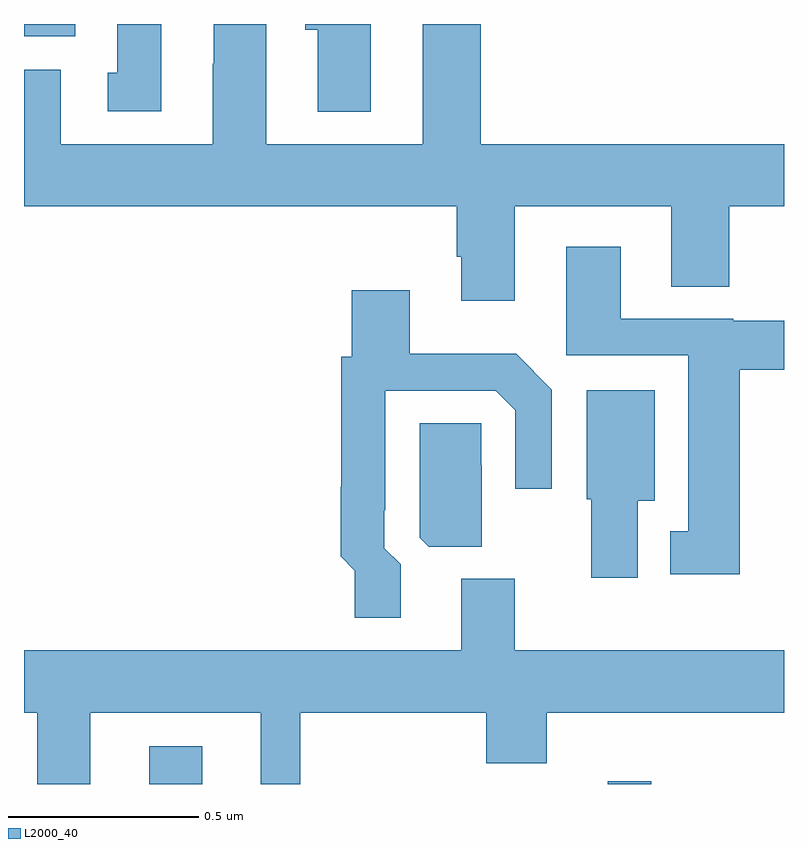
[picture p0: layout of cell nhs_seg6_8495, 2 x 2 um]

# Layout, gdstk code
import gdstk
lib = gdstk.Library(unit=1e-6, precision=1e-09)
def R(c, l, rs):  # rectangles x0, y0, x1, y1
    for r in rs: c.add(gdstk.rectangle(r[:2], r[2:], *l))
def P(c, l, *ps):  # polygons
    for p in ps: c.add(gdstk.Polygon(p, *l))
L2000_40 = (2000, 40)

nhs_seg6_8495 = lib.new_cell('nhs_seg6_8495')
R(nhs_seg6_8495, L2000_40, [(222.329,928.5,222.469,928.6), (223.536,928.5,223.651,928.507), (222,930.468,222.135,930.5)])
P(nhs_seg6_8495, L2000_40, [(223.291,930.02),(223.703,930.02),(223.703,929.809),(223.856,929.809),(223.856,930.02),(224,930.02),(224,930.184),(223.202,930.184),(223.202,930.5),(223.049,930.5),(223.049,930.184),(222.637,930.184),(222.637,930.5),(222.499,930.5),(222.499,930.395),(222.497,930.395),(222.497,930.184),(222.097,930.184),(222.097,930.379),(222,930.379),(222,930.02),(223.139,930.02),(223.139,929.887),(223.151,929.887),(223.151,929.772),(223.291,929.772)],
  [(222.361,930.5),(222.245,930.5),(222.245,930.372),(222.221,930.372),(222.221,930.27),(222.361,930.27)],
  [(222.913,930.5),(222.74,930.5),(222.74,930.485),(222.773,930.485),(222.773,930.269),(222.913,930.269)],
  [(223.883,929.59),(224,929.59),(224,929.719),(223.866,929.719),(223.866,929.724),(223.57,929.724),(223.57,929.914),(223.427,929.914),(223.427,929.628),(223.748,929.628),(223.748,929.165),(223.7,929.165),(223.7,929.052),(223.883,929.052)],
  [(222.991,929.078),(222.948,929.121),(222.948,929.221),(222.951,929.221),(222.951,929.535),(223.242,929.535),(223.293,929.484),(223.293,929.277),(223.389,929.277),(223.389,929.538),(223.295,929.632),(223.015,929.632),(223.015,929.8),(222.863,929.8),(222.863,929.625),(222.835,929.625),(222.835,929.282),(222.833,929.282),(222.833,929.1),(222.871,929.061),(222.871,928.938),(222.991,928.938)],
  [(223.615,929.246),(223.66,929.246),(223.66,929.536),(223.481,929.536),(223.481,929.25),(223.493,929.25),(223.493,929.043),(223.615,929.043)],
  [(223.204,929.339),(223.203,929.339),(223.203,929.45),(223.041,929.45),(223.041,929.148),(223.065,929.125),(223.204,929.125)],
  [(222.174,928.688),(222.623,928.688),(222.623,928.5),(222.727,928.5),(222.727,928.688),(223.216,928.688),(223.216,928.555),(223.376,928.555),(223.376,928.688),(224,928.688),(224,928.852),(223.291,928.852),(223.291,929.04),(223.151,929.04),(223.151,928.852),(222,928.852),(222,928.688),(222.035,928.688),(222.035,928.5),(222.174,928.5)])

lib.write_gds('nhs_seg6_8495.gds')
